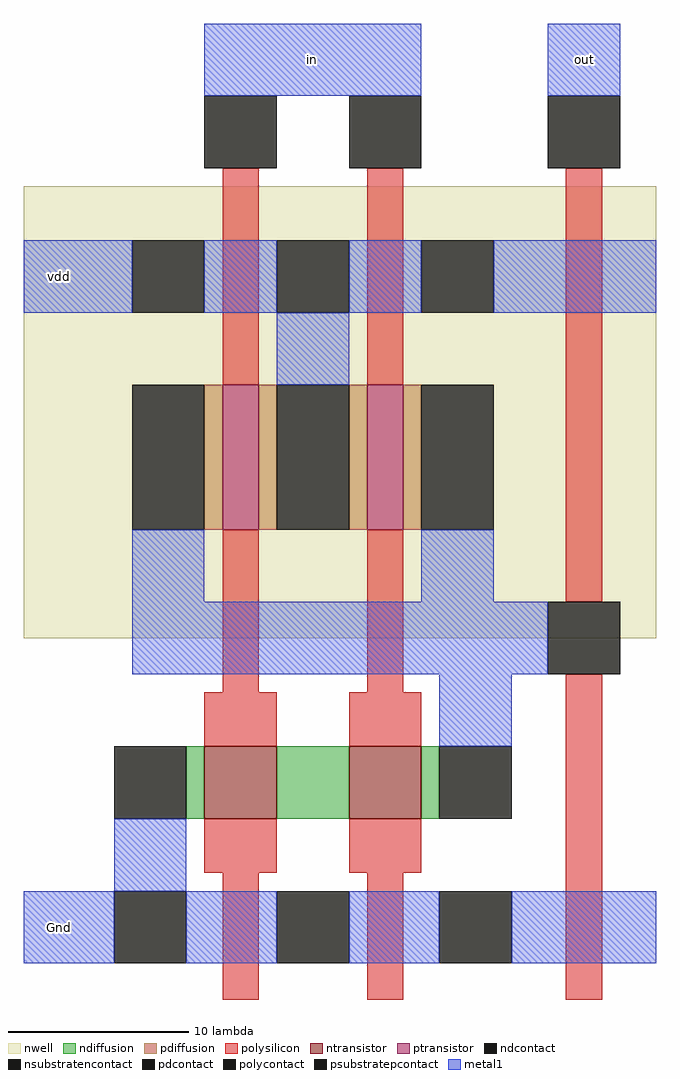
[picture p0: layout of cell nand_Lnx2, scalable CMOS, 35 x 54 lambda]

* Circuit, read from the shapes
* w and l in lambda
.subckt nand_Lnx2 Gnd in out vdd
M1 n1 in Gnd Gnd nfet w=4 l=4
M2 out in n1 Gnd nfet w=4 l=4
M3 vdd in out vdd pfet w=8 l=2 m=2
.ends

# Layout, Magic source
magic
tech scmos
<< nwell >>
rect -14 1 21 26
<< ntransistor >>
rect -4 -9 0 -5
rect 4 -9 8 -5
<< ptransistor >>
rect -3 7 -1 15
rect 5 7 7 15
<< ndiffusion >>
rect -5 -9 -4 -5
rect 0 -9 4 -5
rect 8 -9 9 -5
<< pdiffusion >>
rect -4 7 -3 15
rect -1 7 0 15
rect 4 7 5 15
rect 7 7 8 15
<< ndcontact >>
rect -9 -9 -5 -5
rect 9 -9 13 -5
<< pdcontact >>
rect -8 7 -4 15
rect 0 7 4 15
rect 8 7 12 15
<< psubstratepcontact >>
rect -9 -17 -5 -13
rect 0 -17 4 -13
rect 9 -17 13 -13
<< nsubstratencontact >>
rect -8 19 -4 23
rect 0 19 4 23
rect 8 19 12 23
<< polysilicon >>
rect -3 15 -1 27
rect 5 15 7 27
rect -3 -2 -1 7
rect 5 -2 7 7
rect 16 3 18 27
rect -4 -5 0 -2
rect 4 -5 8 -2
rect -4 -12 0 -9
rect 4 -12 8 -9
rect -3 -19 -1 -12
rect 5 -19 7 -12
rect 16 -19 18 -1
<< polycontact >>
rect -4 27 0 31
rect 4 27 8 31
rect 15 27 19 31
rect 15 -1 19 3
<< metal1 >>
rect -4 31 8 35
rect 15 31 19 35
rect -14 19 -8 23
rect -4 19 0 23
rect 4 19 8 23
rect 12 19 21 23
rect 0 15 4 19
rect -8 3 -4 7
rect 8 3 12 7
rect -8 -1 15 3
rect 9 -5 13 -1
rect -9 -13 -5 -9
rect -14 -17 -9 -13
rect -5 -17 0 -13
rect 4 -17 9 -13
rect 13 -17 21 -13
<< labels >>
rlabel metal1 0 31 4 35 5 in
rlabel metal1 -14 19 -10 23 3 vdd
rlabel metal1 15 31 19 35 6 out
rlabel metal1 -14 -17 -10 -13 2 Gnd
<< end >>
